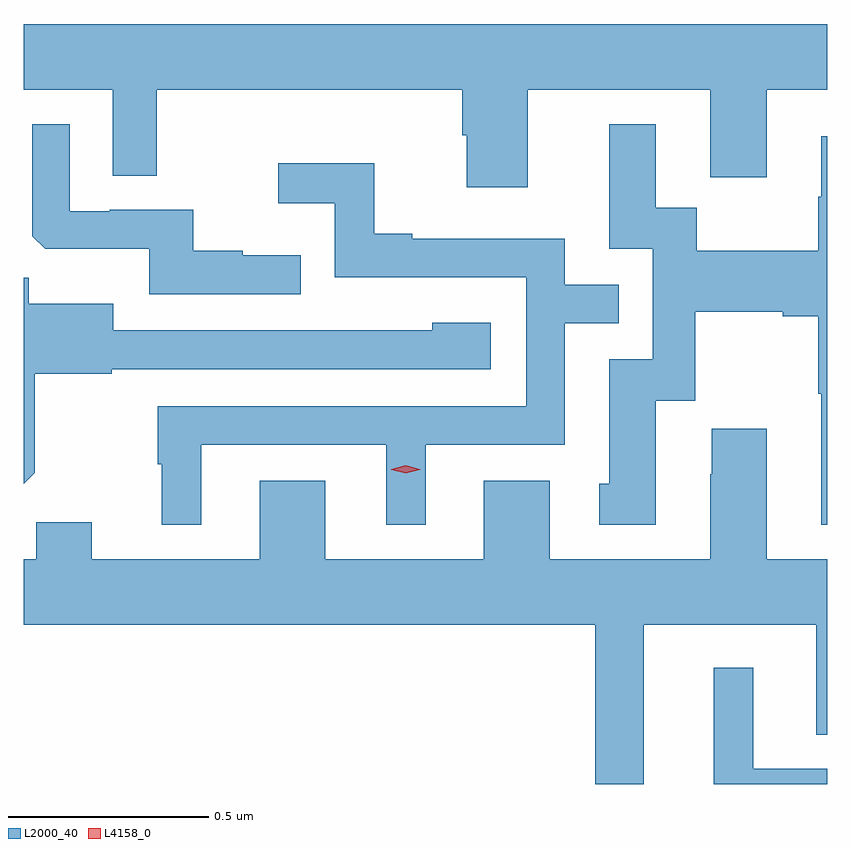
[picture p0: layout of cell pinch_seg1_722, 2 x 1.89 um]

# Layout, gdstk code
import gdstk
lib = gdstk.Library(unit=1e-6, precision=1e-09)
def P(c, l, *ps):  # polygons
    for p in ps: c.add(gdstk.Polygon(p, *l))
L2000_40 = (2000, 40)
L4158_0 = (4158, 0)

pinch_seg1_722 = lib.new_cell('pinch_seg1_722')
P(pinch_seg1_722, L2000_40, [(706.447,577.04),(706.901,577.04),(706.901,576.822),(707.041,576.822),(707.041,577.04),(707.192,577.04),(707.192,577.204),(705.192,577.204),(705.192,577.04),(705.414,577.04),(705.414,576.826),(705.523,576.826),(705.523,577.04),(706.283,577.04),(706.283,576.927),(706.295,576.927),(706.295,576.798),(706.447,576.798)],
  [(705.881,576.628),(705.737,576.628),(705.737,576.64),(705.614,576.64),(705.614,576.741),(705.406,576.741),(705.406,576.738),(705.306,576.738),(705.306,576.955),(705.213,576.955),(705.213,576.675),(705.245,576.644),(705.504,576.644),(705.504,576.531),(705.881,576.531)],
  [(707.192,576.925),(707.177,576.925),(707.177,576.774),(707.17,576.774),(707.17,576.64),(706.867,576.64),(706.867,576.746),(706.765,576.746),(706.765,576.955),(706.649,576.955),(706.649,576.645),(706.758,576.645),(706.758,576.369),(706.649,576.369),(706.649,576.06),(706.625,576.06),(706.625,575.958),(706.765,575.958),(706.765,576.266),(706.863,576.266),(706.863,576.488),(707.081,576.488),(707.081,576.476),(707.17,576.476),(707.17,576.283),(707.177,576.283),(707.177,575.957),(707.192,575.957)],
  [(705.634,576.156),(706.094,576.156),(706.094,575.957),(706.192,575.957),(706.192,576.156),(706.539,576.156),(706.539,576.459),(706.673,576.459),(706.673,576.555),(706.539,576.555),(706.539,576.669),(706.159,576.669),(706.159,576.682),(706.065,576.682),(706.065,576.857),(705.825,576.857),(705.825,576.758),(705.966,576.758),(705.966,576.573),(706.443,576.573),(706.443,576.252),(705.525,576.252),(705.525,576.108),(705.536,576.108),(705.536,575.957),(705.634,575.957)],
  [(705.219,576.087),(705.219,576.333),(705.411,576.333),(705.411,576.345),(706.354,576.345),(706.354,576.46),(706.209,576.46),(706.209,576.442),(705.973,576.442),(705.973,576.441),(705.415,576.441),(705.415,576.508),(705.204,576.508),(705.204,576.572),(705.192,576.572),(705.192,576.06)],
  [(706.735,575.708),(707.165,575.708),(707.165,575.435),(707.192,575.435),(707.192,575.872),(707.041,575.872),(707.041,576.196),(706.904,576.196),(706.904,576.083),(706.901,576.083),(706.901,575.872),(706.501,575.872),(706.501,576.067),(706.337,576.067),(706.337,575.872),(705.943,575.872),(705.943,576.067),(705.779,576.067),(705.779,575.872),(705.361,575.872),(705.361,575.963),(705.223,575.963),(705.223,575.872),(705.192,575.872),(705.192,575.708),(706.614,575.708),(706.614,575.312),(706.735,575.312)],
  [(707.192,575.35),(707.008,575.35),(707.008,575.602),(706.91,575.602),(706.91,575.312),(707.192,575.312)])
P(pinch_seg1_722, L4158_0, [(706.143,576.085),(706.107,576.094),(706.107,576.095),(706.107,576.095),(706.143,576.105),(706.178,576.095),(706.179,576.095),(706.178,576.094)])

lib.write_gds('pinch_seg1_722.gds')
